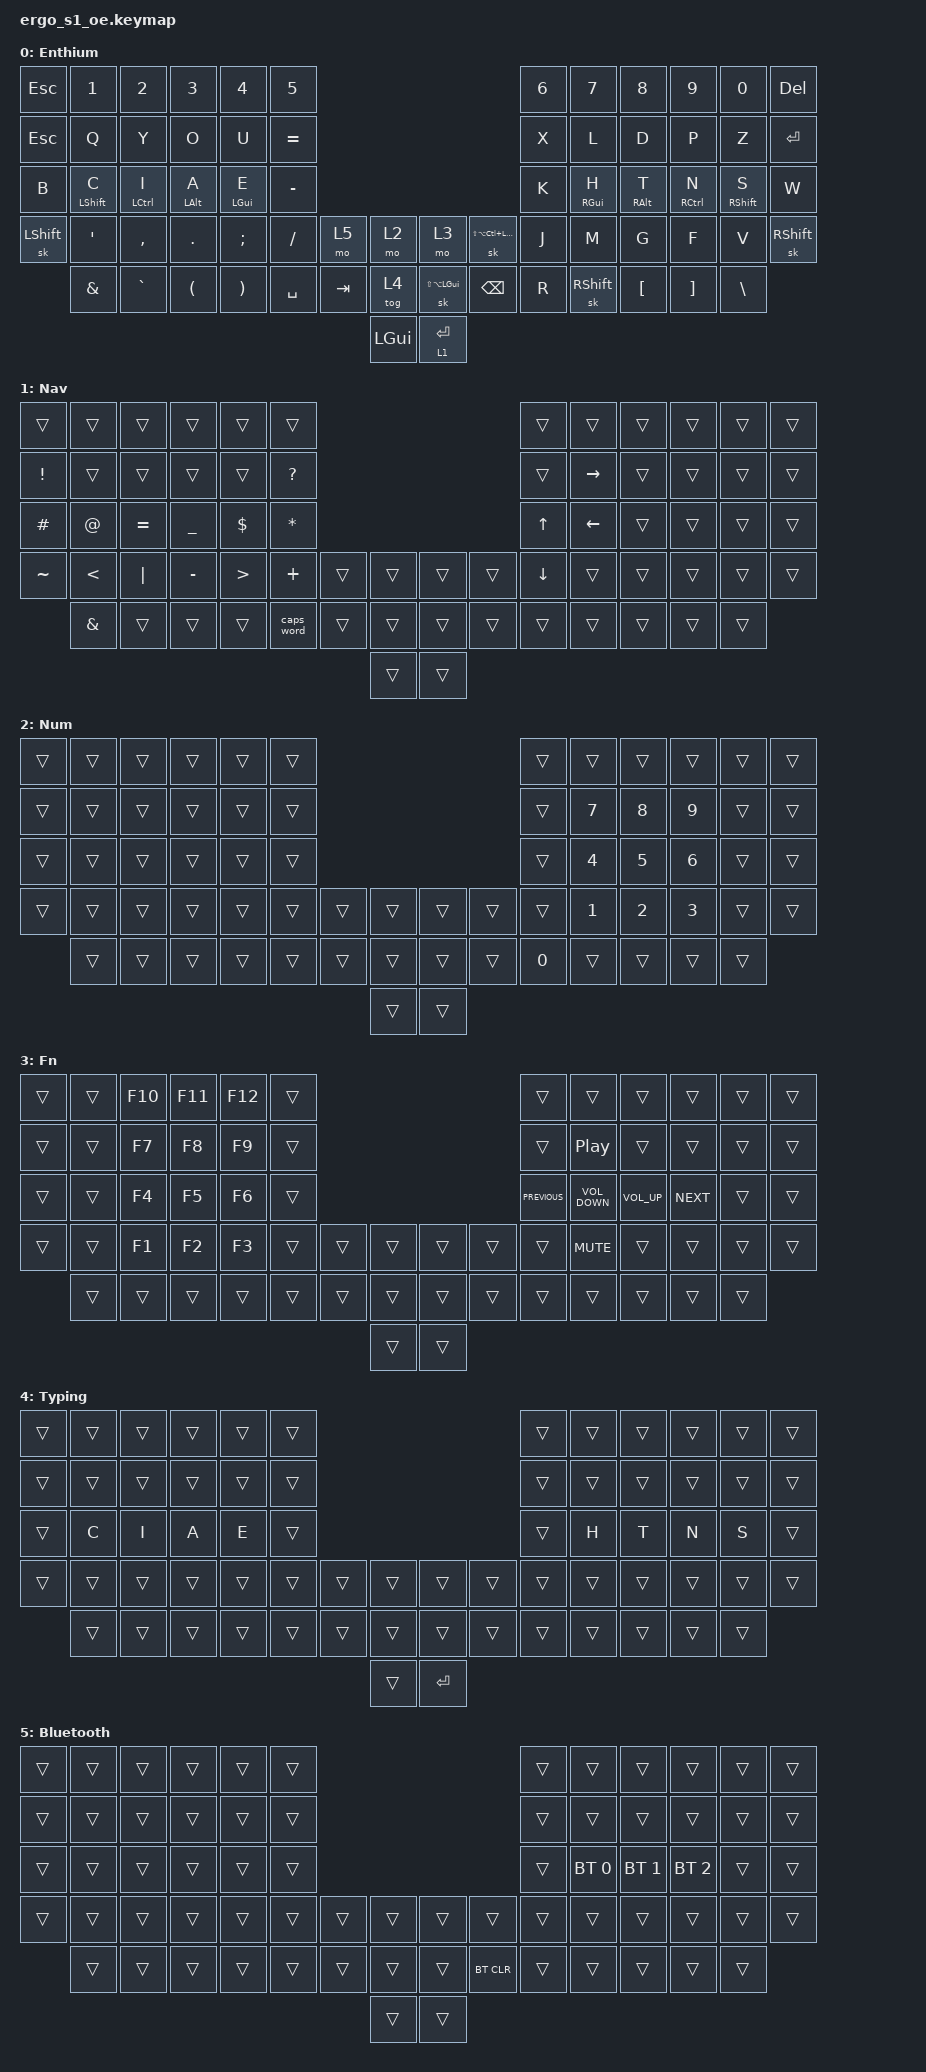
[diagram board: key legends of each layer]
/*
 * Copyright (c) 2021 The ZMK Contributors
 *
 * SPDX-License-Identifier: MIT
 */

#include <behaviors.dtsi>
#include <dt-bindings/zmk/bt.h>
#include <dt-bindings/zmk/keys.h>

#define DEFAULT 0
#define FN  1

/ {
    behaviors {
        hrl: hrl {
            compatible = "zmk,behavior-hold-tap";
            label = "HRL";
            bindings = <&kp>, <&kp>;

            #binding-cells = <2>;
            tapping-term-ms = <280>;
            quick-tap-ms = <175>;
            require-prior-idle-ms = <150>;
            flavor = "balanced";
            hold-trigger-on-release;
            hold-trigger-key-positions = <44 45 59 60 67 61 46 30 18 6 7 8 9 10 11 19 20 21 22 23 31 32 33 34 35 47 48 49 50 51 62 63 64 65 43 42 56 57 58 66>;
        };

        hrr: hrr {
            compatible = "zmk,behavior-hold-tap";
            label = "HRR";
            bindings = <&kp>, <&kp>;

            #binding-cells = <2>;
            tapping-term-ms = <280>;
            quick-tap-ms = <175>;
            require-prior-idle-ms = <150>;
            flavor = "balanced";
            hold-trigger-on-release;
            hold-trigger-key-positions = <0 1 2 3 4 5 12 13 14 15 16 17 24 25 26 27 28 29 36 37 38 39 40 41 42 43 52 53 54 55 56 57 58 66 44 45 60 61 67 59>;
        };

        bkspcapsword: bkspcapsword {
            compatible = "zmk,behavior-mod-morph";
            label = "BKSPCAPSWORD";
            bindings = <&lt 3 BACKSPACE>, <&caps_word>;

            #binding-cells = <0>;
            mods = <(MOD_LSFT|MOD_LGUI)>;
        };
    };

    keymap {
        compatible = "zmk,keymap";

        Enthium {
            bindings = <
&kp ESC         &kp N1             &kp N2        &kp N3                &kp N4                 &kp N5                                                                        &kp N6  &kp N7            &kp N8            &kp N9        &kp N0              &kp DELETE
&kp ESC         &kp Q              &kp Y         &kp O                 &kp U                  &kp EQUAL                                                                     &kp X   &kp L             &kp D             &kp P         &kp Z               &kp ENTER
&kp B           &hrl LEFT_SHIFT C  &hrl LCTRL I  &hrl LEFT_ALT A       &hrl LEFT_GUI E        &kp MINUS                                                                     &kp K   &hrr RIGHT_GUI H  &hrr RIGHT_ALT T  &hrr RCTRL N  &hrr RIGHT_SHIFT S  &kp W
&sk LEFT_SHIFT  &kp APOS           &kp COMMA     &kp DOT               &kp SEMI               &kp FSLH   &mo 5    &mo 2     &mo 3                 &sk LS(LA(LC(LEFT_GUI)))  &kp J   &kp M             &kp G             &kp F         &kp V               &sk RIGHT_SHIFT
                &kp AMPS           &kp GRAVE     &kp LEFT_PARENTHESIS  &kp RIGHT_PARENTHESIS  &kp SPACE  &kp TAB  &tog 4    &sk LS(LA(LEFT_GUI))  &kp BACKSPACE             &kp R   &sk RIGHT_SHIFT   &kp LBKT          &kp RBKT      &kp BSLH
                                                                                                                  &kp LGUI  &lt 1 ENTER
            >;
        };

        Nav {
            bindings = <
&trans           &trans         &trans     &trans          &trans            &trans                                        &trans    &trans     &trans  &trans  &trans  &trans
&kp EXCLAMATION  &trans         &trans     &trans          &trans            &kp QUESTION                                  &trans    &kp RIGHT  &trans  &trans  &trans  &trans
&kp HASH         &kp AT_SIGN    &kp EQUAL  &kp UNDERSCORE  &kp DOLLAR        &kp ASTERISK                                  &kp UP    &kp LEFT   &trans  &trans  &trans  &trans
&kp TILDE        &kp LESS_THAN  &kp PIPE   &kp MINUS       &kp GREATER_THAN  &kp PLUS      &trans  &trans  &trans  &trans  &kp DOWN  &trans     &trans  &trans  &trans  &trans
                 &kp AMPERSAND  &trans     &trans          &trans            &caps_word    &trans  &trans  &trans  &trans  &trans    &trans     &trans  &trans  &trans
                                                                                                   &trans  &trans
            >;
        };

        Num {
            bindings = <
&trans  &trans  &trans  &trans  &trans  &trans                                  &trans  &trans  &trans  &trans  &trans  &trans
&trans  &trans  &trans  &trans  &trans  &trans                                  &trans  &kp N7  &kp N8  &kp N9  &trans  &trans
&trans  &trans  &trans  &trans  &trans  &trans                                  &trans  &kp N4  &kp N5  &kp N6  &trans  &trans
&trans  &trans  &trans  &trans  &trans  &trans  &trans  &trans  &trans  &trans  &trans  &kp N1  &kp N2  &kp N3  &trans  &trans
        &trans  &trans  &trans  &trans  &trans  &trans  &trans  &trans  &trans  &kp N0  &trans  &trans  &trans  &trans
                                                        &trans  &trans
            >;
        };

        Fn {
            bindings = <
&trans  &trans  &kp F10  &kp F11  &kp F12  &trans                                  &trans          &trans             &trans           &trans      &trans  &trans
&trans  &trans  &kp F7   &kp F8   &kp F9   &trans                                  &trans          &kp C_PLAY_PAUSE   &trans           &trans      &trans  &trans
&trans  &trans  &kp F4   &kp F5   &kp F6   &trans                                  &kp C_PREVIOUS  &kp C_VOLUME_DOWN  &kp C_VOLUME_UP  &kp C_NEXT  &trans  &trans
&trans  &trans  &kp F1   &kp F2   &kp F3   &trans  &trans  &trans  &trans  &trans  &trans          &kp K_MUTE         &trans           &trans      &trans  &trans
        &trans  &trans   &trans   &trans   &trans  &trans  &trans  &trans  &trans  &trans          &trans             &trans           &trans      &trans
                                                           &trans  &trans
            >;
        };

        Typing {
            bindings = <
&trans  &trans  &trans  &trans  &trans  &trans                                     &trans  &trans  &trans  &trans  &trans  &trans
&trans  &trans  &trans  &trans  &trans  &trans                                     &trans  &trans  &trans  &trans  &trans  &trans
&trans  &kp C   &kp I   &kp A   &kp E   &trans                                     &trans  &kp H   &kp T   &kp N   &kp S   &trans
&trans  &trans  &trans  &trans  &trans  &trans  &trans  &trans  &trans     &trans  &trans  &trans  &trans  &trans  &trans  &trans
        &trans  &trans  &trans  &trans  &trans  &trans  &trans  &trans     &trans  &trans  &trans  &trans  &trans  &trans
                                                        &trans  &kp ENTER
            >;
        };

        Bluetooth {
            bindings = <
&trans  &trans  &trans  &trans  &trans  &trans                                      &trans  &trans        &trans        &trans        &trans  &trans
&trans  &trans  &trans  &trans  &trans  &trans                                      &trans  &trans        &trans        &trans        &trans  &trans
&trans  &trans  &trans  &trans  &trans  &trans                                      &trans  &bt BT_SEL 0  &bt BT_SEL 1  &bt BT_SEL 2  &trans  &trans
&trans  &trans  &trans  &trans  &trans  &trans  &trans  &trans  &trans  &trans      &trans  &trans        &trans        &trans        &trans  &trans
        &trans  &trans  &trans  &trans  &trans  &trans  &trans  &trans  &bt BT_CLR  &trans  &trans        &trans        &trans        &trans
                                                        &trans  &trans
            >;
        };
    };
};
